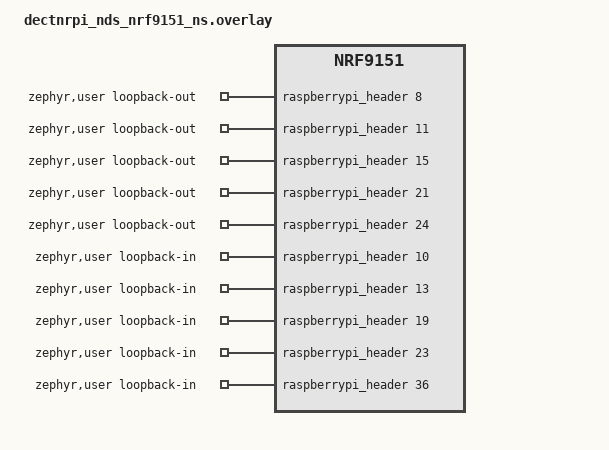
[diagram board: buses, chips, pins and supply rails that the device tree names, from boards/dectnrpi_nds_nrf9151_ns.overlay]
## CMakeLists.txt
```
# Copyright (c) 2026 Deveritec GmbH
# SPDX-License-Identifier: Apache-2.0

cmake_minimum_required(VERSION 3.20.0)
find_package(Zephyr REQUIRED HINTS $ENV{ZEPHYR_BASE})
project(dectnrpi_nds_hw_selftest)

target_sources(app PRIVATE
	src/main.c
	src/leds_buttons.c
	src/ext_flash.c
	src/gpio_loopback.c
)
```

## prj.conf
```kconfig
# Copyright (c) 2026 Deveritec GmbH
# SPDX-License-Identifier: Apache-2.0

CONFIG_ZTEST=y
CONFIG_GPIO=y
CONFIG_SPI=y
CONFIG_SPI_NOR=y
CONFIG_FLASH=y
CONFIG_FLASH_MAP=y
CONFIG_PRINTK=y
CONFIG_STDOUT_CONSOLE=y

CONFIG_TFM_PARTITION_PROTECTED_STORAGE=n
```

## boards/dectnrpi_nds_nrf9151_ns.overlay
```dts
/*
 * Copyright (c) 2026 Deveritec GmbH
 * SPDX-License-Identifier: Apache-2.0
 *
 * GPIO loopback pairs on the Raspberry Pi header (dectnrpi_nds).
 * Each pair must be connected with a jumper wire. Index i of the out list
 * is connected to index i of the in list.
 *
 *  #  out pin (header / nRF)   in pin (header / nRF)   function
 *  1   8 / P0.13 (UART TX)     10 / P0.12 (UART RX)    GPIO
 *  2  11 / P0.15 (UART RTS)    13 / P0.27 (GPIO27)     GPIO
 *  3  15 / P0.26 (GPIO22)      19 / P0.21 (SPI MOSI)   GPIO
 *  4  21 / P0.22 (SPI MISO)    23 / P0.23 (SPI CLK)    GPIO
 *  5  24 / P0.24 (SPI CS)      36 / P0.16 (UART CTS)   GPIO
 
 * Not used: header pins 27, 29, 31 (buttons, tested separately).
 */

#include "nrf91x1_partition_without_bootloader.dtsi"

/ {
	zephyr,user {
		loopback-out-gpios = <&raspberrypi_header 8 0>,
							<&raspberrypi_header 11 0>,
							<&raspberrypi_header 15 0>,
							<&raspberrypi_header 21 0>,
							<&raspberrypi_header 24 0>;
		loopback-in-gpios = <&raspberrypi_header 10 0>,
							<&raspberrypi_header 13 0>,
							<&raspberrypi_header 19 0>,
							<&raspberrypi_header 23 0>,
							<&raspberrypi_header 36 0>;
	};
};
```

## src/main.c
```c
#include <zephyr/ztest.h>
#include <zephyr/drivers/gpio.h>

#define LED_BLUE_NODE DT_ALIAS(led0)
#define LED_GREEN_NODE DT_ALIAS(led1)
#define LED_RED_NODE   DT_ALIAS(led2)

static const struct gpio_dt_spec led_blue = GPIO_DT_SPEC_GET(LED_BLUE_NODE, gpios);
static const struct gpio_dt_spec led_green = GPIO_DT_SPEC_GET(LED_GREEN_NODE, gpios);
static const struct gpio_dt_spec led_red   = GPIO_DT_SPEC_GET(LED_RED_NODE, gpios);

extern struct ztest_suite_node _ztest_suite_node_list_start[];
extern struct ztest_suite_node _ztest_suite_node_list_end[];

uint32_t count_fails(void){
	/* Fail-Count for all Suites */
    uint32_t total_fail = 0;

    for (struct ztest_suite_node *ptr = _ztest_suite_node_list_start;
         ptr < _ztest_suite_node_list_end; ++ptr) {
        total_fail += ptr->stats->fail_count;
    }
	return total_fail;
}

void test_main(void)
{
	ztest_run_all(NULL, false, 1, 1);

	/* Check that all the suites in this binary ran at least once. */
	ztest_verify_all_test_suites_ran();

	//TC_SUMMARY_PRINT("FAILS: %d\n", count_fails());

	gpio_pin_configure_dt(&led_green, GPIO_OUTPUT_INACTIVE);
    gpio_pin_configure_dt(&led_red,   GPIO_OUTPUT_INACTIVE);
	gpio_pin_configure_dt(&led_blue,   GPIO_OUTPUT_INACTIVE);

	gpio_pin_set_dt(&led_blue,   1);
	if (count_fails() > 0) {
        gpio_pin_set_dt(&led_red,   1);
        gpio_pin_set_dt(&led_green, 0);
    } else {
        gpio_pin_set_dt(&led_green, 1);
        gpio_pin_set_dt(&led_red,   0);
    }
}
```

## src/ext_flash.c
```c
/*
 * Copyright (c) 2026 Deveritec GmbH
 * SPDX-License-Identifier: Apache-2.0
 *
 * External SPI NOR flash (W25Q32, spi3) test for dectnrpi_nds.
 * Uses the partition external_flash_partition for erase/write/read.
 */

#include <zephyr/devicetree.h>
#include <zephyr/drivers/spi.h>
#include <zephyr/kernel.h>
#include <zephyr/storage/flash_map.h>
#include <zephyr/ztest.h>

#define EXT_FLASH_SPI_NODE DT_NODELABEL(w25q32)

#define SECTOR_SIZE 4096
#define CHUNK_SIZE  256

/* W25Q32 JEDEC ID: manufacturer 0xEF (Winbond), memory type 0x40, capacity 0x16 (32 Mbit) */
#define JEDEC_MFR  0xEF
#define JEDEC_TYPE 0x40
#define JEDEC_CAP  0x16

static const struct spi_dt_spec ext_flash_spi = SPI_DT_SPEC_GET(
	EXT_FLASH_SPI_NODE, SPI_OP_MODE_MASTER | SPI_WORD_SET(8) | SPI_TRANSFER_MSB);

static const struct flash_area *ext_fa;

static void *ext_flash_setup(void)
{
	int ret;

	zassert_true(spi_is_ready_dt(&ext_flash_spi), "SPI bus not ready");

	ret = flash_area_open(DT_FIXED_PARTITION_ID(DT_NODELABEL(external_flash_partition)),
			      &ext_fa);
	zassert_equal(0, ret, "flash_area_open(external_flash_partition) failed (%d)", ret);

	zassert_true(ext_fa->fa_size >= SECTOR_SIZE, "partition too small");

	return NULL;
}

ZTEST(ext_flash, test_jedec_id)
{
	uint8_t tx[4] = {0x9F, 0x00, 0x00, 0x00};
	uint8_t rx[4] = {0x00, 0x00, 0x00, 0x00};
	struct spi_buf txb = {.buf = tx, .len = sizeof(tx)};
	struct spi_buf rxb = {.buf = rx, .len = sizeof(rx)};
	struct spi_buf_set txs = {.buffers = &txb, .count = 1};
	struct spi_buf_set rxs = {.buffers = &rxb, .count = 1};
	int ret;

	ret = spi_transceive_dt(&ext_flash_spi, &txs, &rxs);
	zassert_equal(0, ret, "JEDEC ID read failed (%d)", ret);

	printk("JEDEC ID: %02x %02x %02x\n", rx[1], rx[2], rx[3]);

	zassert_equal(JEDEC_MFR, (int)rx[1], "manufacturer ID mismatch");
	zassert_equal(JEDEC_TYPE, (int)rx[2], "memory type mismatch");
	zassert_equal(JEDEC_CAP, (int)rx[3], "capacity mismatch");
}

ZTEST(ext_flash, test_erase_write_read)
{
	static uint8_t wbuf[CHUNK_SIZE];
	static uint8_t rbuf[CHUNK_SIZE];
	int ret;

	ret = flash_area_erase(ext_fa, 0, SECTOR_SIZE);
	zassert_equal(0, ret, "erase failed (%d)", ret);

	for (uint32_t off = 0; off < SECTOR_SIZE; off += CHUNK_SIZE) {
		ret = flash_area_read(ext_fa, off, rbuf, sizeof(rbuf));
		zassert_equal(0, ret, "read after erase failed at 0x%x (%d)", off, ret);

		for (size_t j = 0; j < sizeof(rbuf); j++) {
			zassert_equal(0xFF, (int)rbuf[j], "not erased at 0x%x", off + j);
		}
	}

	for (uint32_t off = 0; off < SECTOR_SIZE; off += CHUNK_SIZE) {
		for (size_t j = 0; j < sizeof(wbuf); j++) {
			wbuf[j] = (uint8_t)((off + j) ^ 0xA5);
		}

		ret = flash_area_write(ext_fa, off, wbuf, sizeof(wbuf));
		zassert_equal(0, ret, "write failed at 0x%x (%d)", off, ret);

		ret = flash_area_read(ext_fa, off, rbuf, sizeof(rbuf));
		zassert_equal(0, ret, "read failed at 0x%x (%d)", off, ret);

		zassert_mem_equal(wbuf, rbuf, sizeof(wbuf), "data mismatch at 0x%x", off);
	}

	printk("ext flash: erase/write/read of %d bytes OK\n", SECTOR_SIZE);
}

ZTEST_SUITE(ext_flash, NULL, ext_flash_setup, NULL, NULL, NULL);
```

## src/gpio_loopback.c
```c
/*
 * Copyright (c) 2026 Deveritec GmbH
 * SPDX-License-Identifier: Apache-2.0
 *
 * GPIO loopback test for the Raspberry Pi header pins of dectnrpi_nds.
 * Pairs are defined in boards/dectnrpi_nds_nrf9151_ns.overlay (zephyr,user loopback-out/in-gpios).
 */

#include <zephyr/devicetree.h>
#include <zephyr/drivers/gpio.h>
#include <zephyr/kernel.h>
#include <zephyr/ztest.h>

#define LB_NODE DT_PATH(zephyr_user)

#define LB_PAIRS DT_PROP_LEN(LB_NODE, loopback_out_gpios)

BUILD_ASSERT(LB_PAIRS == DT_PROP_LEN(LB_NODE, loopback_in_gpios),
	     "loopback-out-gpios and loopback-in-gpios must have the same length");

static const struct gpio_dt_spec lb_out[] = {
	DT_FOREACH_PROP_ELEM_SEP(LB_NODE, loopback_out_gpios, GPIO_DT_SPEC_GET_BY_IDX, (,))
};

static const struct gpio_dt_spec lb_in[] = {
	DT_FOREACH_PROP_ELEM_SEP(LB_NODE, loopback_in_gpios, GPIO_DT_SPEC_GET_BY_IDX, (,))
};

static void *gpio_loopback_setup(void)
{
	for (size_t i = 0; i < LB_PAIRS; i++) {
		zassert_true(gpio_is_ready_dt(&lb_out[i]), "out pair %u: GPIO port not ready",
			     (unsigned int)i);
		zassert_true(gpio_is_ready_dt(&lb_in[i]), "in pair %u: GPIO port not ready",
			     (unsigned int)i);
	}
	return NULL;
}

/* Returns the number of failed checks for this pair. */
static int check_pair(const struct gpio_dt_spec *drv, const struct gpio_dt_spec *rd,
		      size_t idx, const char *dir)
{
	int ret;
	int failures = 0;

	ret = gpio_pin_configure_dt(rd, GPIO_INPUT | GPIO_PULL_DOWN);
	if (ret) {
		printk("pair %u (%s): reader configure failed (%d)\n", (unsigned int)idx, dir, ret);
		return 1;
	}

	ret = gpio_pin_configure_dt(drv, GPIO_OUTPUT_LOW);
	if (ret) {
		printk("pair %u (%s): driver configure failed (%d)\n", (unsigned int)idx, dir, ret);
		return 1;
	}

	for (int level = 0; level <= 1; level++) {
		ret = gpio_pin_set_dt(drv, level);
		if (ret) {
			printk("pair %u (%s): set failed (%d)\n", (unsigned int)idx, dir, ret);
			failures++;
			continue;
		}

		k_busy_wait(100);

		int val = gpio_pin_get_dt(rd);

		if (val != level) {
			printk("FAIL pair %u (%s): driven %d, read %d (check wiring)\n",
			       (unsigned int)idx, dir, level, val);
			failures++;
		}
	}

	if (failures == 0) {
		printk("pass pair %u (%s)\n", (unsigned int)idx, dir);
	}

	(void)gpio_pin_configure_dt(drv, GPIO_DISCONNECTED);
	(void)gpio_pin_configure_dt(rd, GPIO_DISCONNECTED);

	return failures;
}

ZTEST(gpio_loopback, test_loopback_out_to_in)
{
	int failures = 0;

	for (size_t i = 0; i < LB_PAIRS; i++) {
		failures += check_pair(&lb_out[i], &lb_in[i], i, "out->in");
	}

	zassert_equal(0, failures, "%d check(s) failed, see pair list above", failures);
}

ZTEST(gpio_loopback, test_loopback_in_to_out)
{
	int failures = 0;

	for (size_t i = 0; i < LB_PAIRS; i++) {
		failures += check_pair(&lb_in[i], &lb_out[i], i, "in->out");
	}

	zassert_equal(0, failures, "%d check(s) failed, see pair list above", failures);
}

ZTEST_SUITE(gpio_loopback, NULL, gpio_loopback_setup, NULL, NULL, NULL);
```

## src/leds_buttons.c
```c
/*
 * Copyright (c) 2026 Deveritec GmbH
 * SPDX-License-Identifier: Apache-2.0
 *
 * LED and button test for dectnrpi_nds. Operator interaction required:
 * each LED is switched on in turn and confirmed by its paired button:
 *   led0 <-> button0 (SW0), led1 <-> button1 (SW1), led2 <-> button2 (SW2)
 */

#include <zephyr/devicetree.h>
#include <zephyr/drivers/gpio.h>
#include <zephyr/kernel.h>
#include <zephyr/sys/util.h>
#include <zephyr/ztest.h>

#define PROMPT_TIMEOUT_MS 15000
#define DEBOUNCE_MS       50

static const struct gpio_dt_spec leds[] = {
	GPIO_DT_SPEC_GET(DT_ALIAS(led0), gpios),
	GPIO_DT_SPEC_GET(DT_ALIAS(led1), gpios),
	GPIO_DT_SPEC_GET(DT_ALIAS(led2), gpios),
};

static const struct gpio_dt_spec buttons[] = {
	GPIO_DT_SPEC_GET(DT_ALIAS(sw0), gpios),
	GPIO_DT_SPEC_GET(DT_ALIAS(sw1), gpios),
	GPIO_DT_SPEC_GET(DT_ALIAS(sw2), gpios),
};

static void *leds_buttons_setup(void)
{
	for (size_t i = 0; i < ARRAY_SIZE(leds); i++) {
		zassert_true(gpio_is_ready_dt(&leds[i]), "led%u: GPIO port not ready",
			     (unsigned int)i);
		zassert_equal(0, gpio_pin_configure_dt(&leds[i], GPIO_OUTPUT_INACTIVE),
			      "led%u: configure failed", (unsigned int)i);
	}

	for (size_t i = 0; i < ARRAY_SIZE(buttons); i++) {
		zassert_true(gpio_is_ready_dt(&buttons[i]), "button%u: GPIO port not ready",
			     (unsigned int)i);
		zassert_equal(0, gpio_pin_configure_dt(&buttons[i], GPIO_INPUT),
			      "button%u: configure failed", (unsigned int)i);
	}

	return NULL;
}

/* Returns true if the button is pressed (debounced) within timeout_ms. */
static bool wait_pressed(const struct gpio_dt_spec *btn, int timeout_ms)
{
	int64_t end = k_uptime_get() + timeout_ms;

	while (k_uptime_get() < end) {
		if (gpio_pin_get_dt(btn) > 0) {
			k_msleep(DEBOUNCE_MS);
			if (gpio_pin_get_dt(btn) > 0) {
				return true;
			}
		}
		k_msleep(10);
	}

	return false;
}

/* Returns true if the button is released within timeout_ms. */
static bool wait_released(const struct gpio_dt_spec *btn, int timeout_ms)
{
	int64_t end = k_uptime_get() + timeout_ms;

	while (k_uptime_get() < end) {
		if (gpio_pin_get_dt(btn) == 0) {
			k_msleep(DEBOUNCE_MS);
			return true;
		}
		k_msleep(10);
	}

	return false;
}

ZTEST(led_button_tests, test_each_led_confirmed_by_its_button)
{
	int failures = 0;

	for (size_t i = 0; i < ARRAY_SIZE(leds); i++) {
		zassert_equal(0, gpio_pin_set_dt(&leds[i], 1), "led%u: set failed",
			      (unsigned int)i);
		printk("LED%u ON: press button%u (SW%u) to confirm within %d s\n",
		       (unsigned int)i, (unsigned int)i, (unsigned int)i,
		       PROMPT_TIMEOUT_MS / 1000);

		bool confirmed = wait_pressed(&buttons[i], PROMPT_TIMEOUT_MS);

		(void)gpio_pin_set_dt(&leds[i], 0);

		if (confirmed) {
			(void)wait_released(&buttons[i], PROMPT_TIMEOUT_MS);
			printk("pass LED%u / button%u\n", (unsigned int)i, (unsigned int)i);
		} else {
			printk("FAIL LED%u / button%u: no confirmation within %d ms\n",
			       (unsigned int)i, (unsigned int)i, PROMPT_TIMEOUT_MS);
			failures++;
		}
	}

	zassert_equal(0, failures, "%d LED/button check(s) failed, see output above", failures);
}

ZTEST_SUITE(led_button_tests, NULL, leds_buttons_setup, NULL, NULL, NULL);
```
